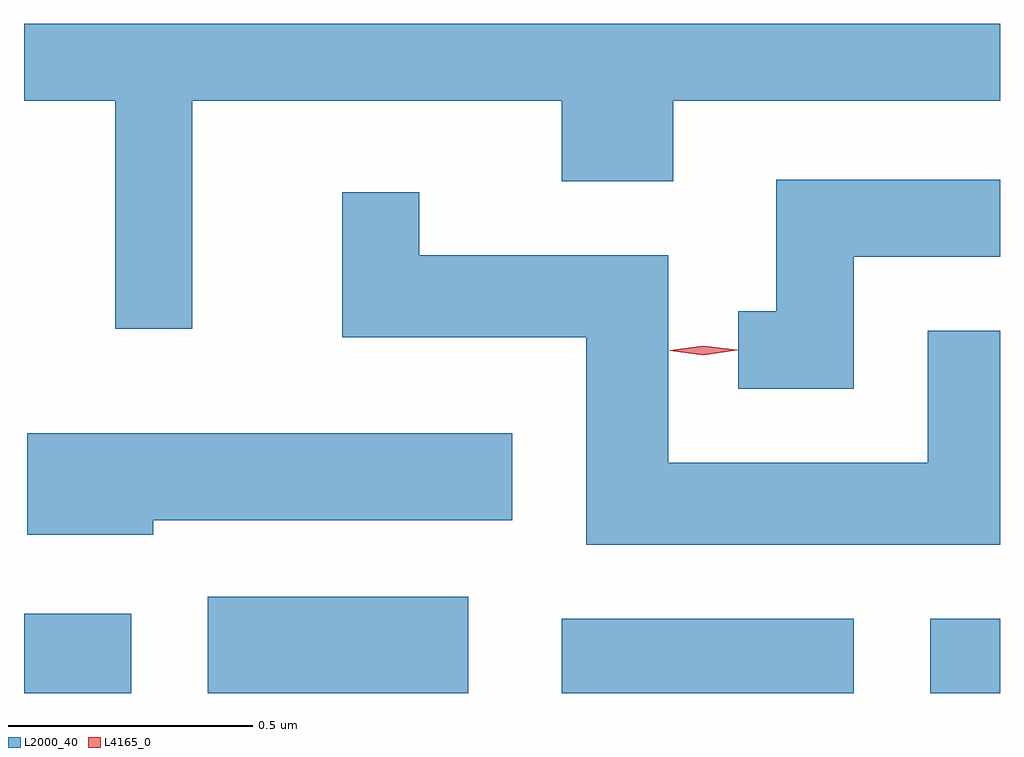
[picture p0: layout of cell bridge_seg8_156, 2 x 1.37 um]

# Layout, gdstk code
import gdstk
lib = gdstk.Library(unit=1e-6, precision=1e-09)
def R(c, l, rs):  # rectangles x0, y0, x1, y1
    for r in rs: c.add(gdstk.rectangle(r[:2], r[2:], *l))
def P(c, l, *ps):  # polygons
    for p in ps: c.add(gdstk.Polygon(p, *l))
L2000_40 = (2000, 40)
L4165_0 = (4165, 0)

bridge_seg8_156 = lib.new_cell('bridge_seg8_156')
R(bridge_seg8_156, L2000_40, [(1656.779,1806.342,1656.999,1806.504), (1657.156,1806.342,1657.689,1806.539), (1657.881,1806.342,1658.479,1806.494), (1658.636,1806.342,1658.779,1806.494)])
P(bridge_seg8_156, L2000_40, [(1657.124,1807.556),(1657.881,1807.556),(1657.881,1807.391),(1658.109,1807.391),(1658.109,1807.556),(1658.779,1807.556),(1658.779,1807.713),(1656.779,1807.713),(1656.779,1807.556),(1656.966,1807.556),(1656.966,1807.088),(1657.124,1807.088)],
  [(1658.479,1807.236),(1658.779,1807.236),(1658.779,1807.394),(1658.321,1807.394),(1658.321,1807.124),(1658.243,1807.124),(1658.243,1806.966),(1658.479,1806.966)],
  [(1658.779,1807.084),(1658.631,1807.084),(1658.631,1806.814),(1658.099,1806.814),(1658.099,1807.239),(1657.589,1807.239),(1657.589,1807.368),(1657.431,1807.368),(1657.431,1807.071),(1657.931,1807.071),(1657.931,1806.646),(1658.779,1806.646)],
  [(1657.044,1806.696),(1657.779,1806.696),(1657.779,1806.874),(1656.786,1806.874),(1656.786,1806.666),(1657.044,1806.666)])
P(bridge_seg8_156, L4165_0, [(1658.171,1807.034),(1658.102,1807.043),(1658.102,1807.044),(1658.102,1807.044),(1658.171,1807.054),(1658.241,1807.045),(1658.241,1807.045),(1658.241,1807.044)])

lib.write_gds('bridge_seg8_156.gds')
